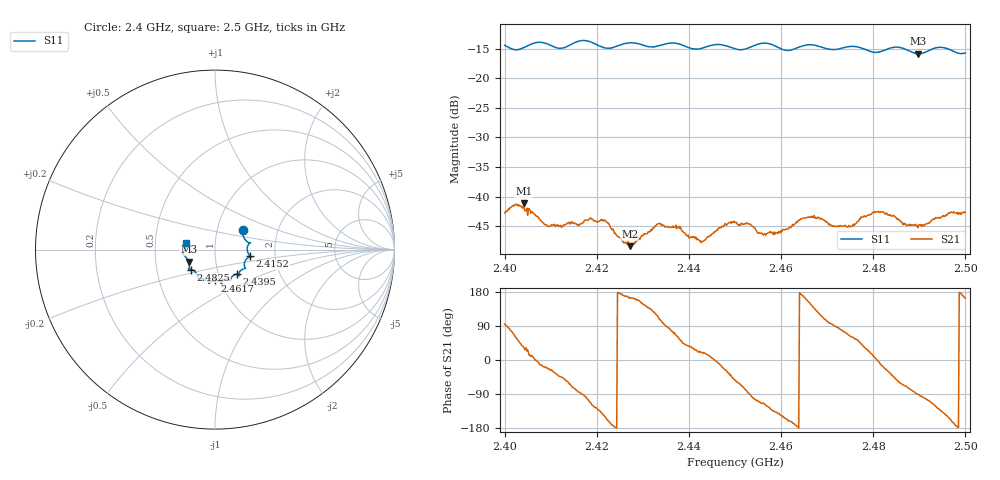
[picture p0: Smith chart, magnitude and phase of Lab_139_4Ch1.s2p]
# Hz S RI R 50
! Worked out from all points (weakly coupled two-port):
!   601 points, 2.4 GHz to 2.5 GHz, reference 50 ohm
!   highest |S21| = -41.09 dB at 2.4042 GHz (marker M1); lowest = -48.4 dB at 2.4272 GHz (marker M2)
!   lowest |S11| = -15.9 dB at 2.4897 GHz (marker M3), VSWR 1.38, Z = 36.9 - j5.11 ohm
!   |S11| at or under -10 dB: start of sweep to end of sweep
!   S12 and S22 are empty: the file has one direction only
!   S11 on the Smith chart (normalised r, x): 2.4 GHz: 1.33, +0.30; 2.4152 GHz: 1.48, -0.11; 2.4395 GHz: 1.22, -0.35; 2.4617 GHz: 0.94, -0.33; 2.4825 GHz: 0.75, -0.17; 2.5 GHz: 0.72, +0.05
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2.4e9  0.1555 0.1095  -0.000592 0.00725  0 0  0 0
2.402333e9  0.1589 0.0714  0.00417 0.00757  0 0  0 0
2.404167e9  0.1755 0.0471  0.00736 0.00487  0 0  0 0
2.409333e9  0.1916 0.0349  0.00517 -0.00218  0 0  0 0
2.412167e9  0.179 0.000967  0.00409 -0.00401  0 0  0 0
2.415167e9  0.196 -0.0367  0.00148 -0.00575  0 0  0 0
2.416667e9  0.2038 -0.0422  6.69e-05 -0.00593  0 0  0 0
2.4215e9  0.1723 -0.0563  -0.00516 -0.00349  0 0  0 0
2.427167e9  0.1705 -0.1033  -0.00365 0.00113  0 0  0 0
2.433333e9  0.1329 -0.1326  -0.00237 0.00539  0 0  0 0
2.4395e9  0.1226 -0.1377  0.00365 0.00297  0 0  0 0
2.443167e9  0.09 -0.1569  0.00402 0.00125  0 0  0 0
2.45e9  0.067 -0.1645  0.00364 -0.00483  0 0  0 0
2.456167e9  0.0384 -0.1943  -0.00192 -0.00433  0 0  0 0
2.461667e9  0.000894 -0.1721  -0.00504 -0.00188  0 0  0 0
2.466667e9  -0.034 -0.1888  -0.00556 0.00402  0 0  0 0
2.474833e9  -0.091 -0.1615  0.00246 0.005  0 0  0 0
2.4825e9  -0.1325 -0.1109  0.00668 -0.0028  0 0  0 0
2.483333e9  -0.1398 -0.1101  0.00603 -0.00361  0 0  0 0
2.489667e9  -0.1463 -0.0673  -2.35e-05 -0.00547  0 0  0 0
2.4945e9  -0.1812 -0.0225  -0.00447 -0.00483  0 0  0 0
2.5e9  -0.1598 0.0353  -0.007 0.00211  0 0  0 0
